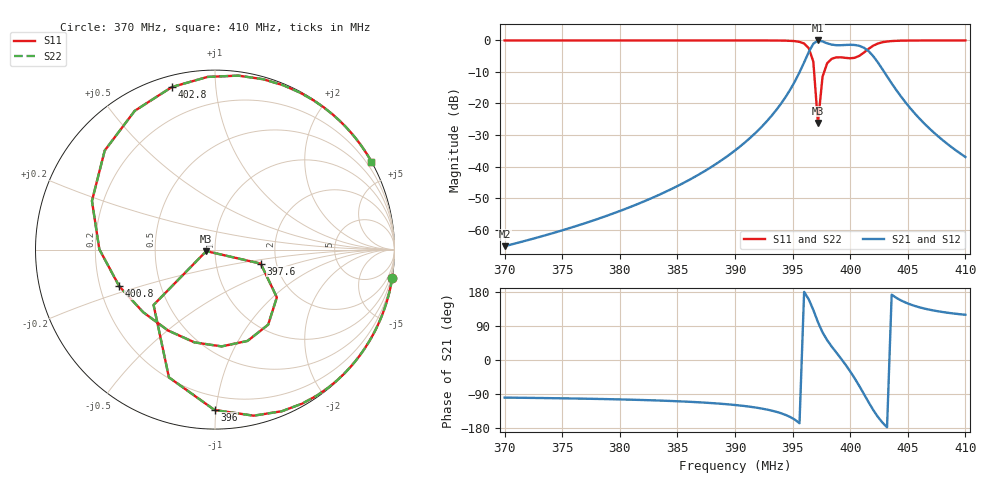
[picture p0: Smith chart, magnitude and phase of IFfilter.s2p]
# GHz S MA R 50
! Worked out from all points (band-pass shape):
!   101 points, 370 MHz to 410 MHz, reference 50 ohm
!   highest |S21| = -0.01 dB at 397.2 MHz (marker M1); lowest = -65.3 dB at 370 MHz (marker M2)
!   |S21| within 3 dB of the highest: 396.5 MHz to 401.5 MHz (4.95 MHz wide, 1.24 % of centre)
!   lowest |S11| = -26.1 dB at 397.2 MHz (marker M3), VSWR 1.10, Z = 45.4 - j0.774 ohm
!   |S11| at or under -10 dB: 396.8673 MHz to 397.7397 MHz (872.4 kHz wide, 0.22 % of centre)
!   |S22| runs from -26.1 to 0.0 dB; largest |S21 - S12| = 0
!   S11 on the Smith chart (normalised r, x): 370 MHz: 0, -12; 396 MHz: 0.11, -0.99; 397.6 MHz: 1.65, -0.28; 400.8 MHz: 0.28, -0.17; 402.8 MHz: 0.05, +0.77; 410 MHz: 0.00, +3.82
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0.37  1 -9.2  0.0005448 -99.2  0.0005448 -99.2  1 -9.2
0.3768  1 -12.0  0.001231 -102.0  0.001231 -102.0  1 -12.0
0.3836  1 -17.2  0.003689 -107.2  0.003689 -107.2  1 -17.2
0.39  0.9998 -28.7  0.01796 -118.7  0.01796 -118.7  0.9998 -28.7
0.394  0.995 -50.6  0.09968 -140.6  0.09968 -140.6  0.995 -50.6
0.3952  0.9745 -67.5  0.2243 -157.5  0.2243 -157.5  0.9745 -67.5
0.396  0.8936 -90.2  0.4488 179.8  0.4488 179.8  0.8936 -90.2
0.3964  0.7567 -109.8  0.6537 160.2  0.6537 160.2  0.7567 -109.8
0.3968  0.4606 -138.0  0.8876 132.0  0.8876 132.0  0.4606 -138.0
0.3972  0.04926 -170.0  0.9988 100.0  0.9988 100.0  0.04926 -170.0
0.3976  0.2664 -17.1  0.9639 72.9  0.9639 72.9  0.2664 -17.1
0.3984  0.5126 -54.7  0.8586 35.3  0.8586 35.3  0.5126 -54.7
0.3992  0.5406 -86.1  0.8413 3.9  0.8413 3.9  0.5406 -86.1
0.4  0.5211 -120.1  0.8535 -30.1  0.8535 -30.1  0.5211 -120.1
0.4008  0.5712 -159.0  0.8208 -69.0  0.8208 -69.0  0.5712 -159.0
0.4012  0.6445 179.8  0.7646 -90.2  0.7646 -90.2  0.6445 179.8
0.402  0.8259 138.1  0.5638 -131.9  0.5638 -131.9  0.8259 138.1
0.4028  0.937 104.9  0.3494 -165.1  0.3494 -165.1  0.937 104.9
0.4036  0.9779 82.4  0.2089 172.4  0.2089 172.4  0.9779 82.4
0.4048  0.9946 61.7  0.1042 151.7  0.1042 151.7  0.9946 61.7
0.406  0.9983 49.2  0.05803 139.2  0.05803 139.2  0.9983 49.2
0.41  0.9999 29.4  0.01417 119.4  0.01417 119.4  0.9999 29.4
